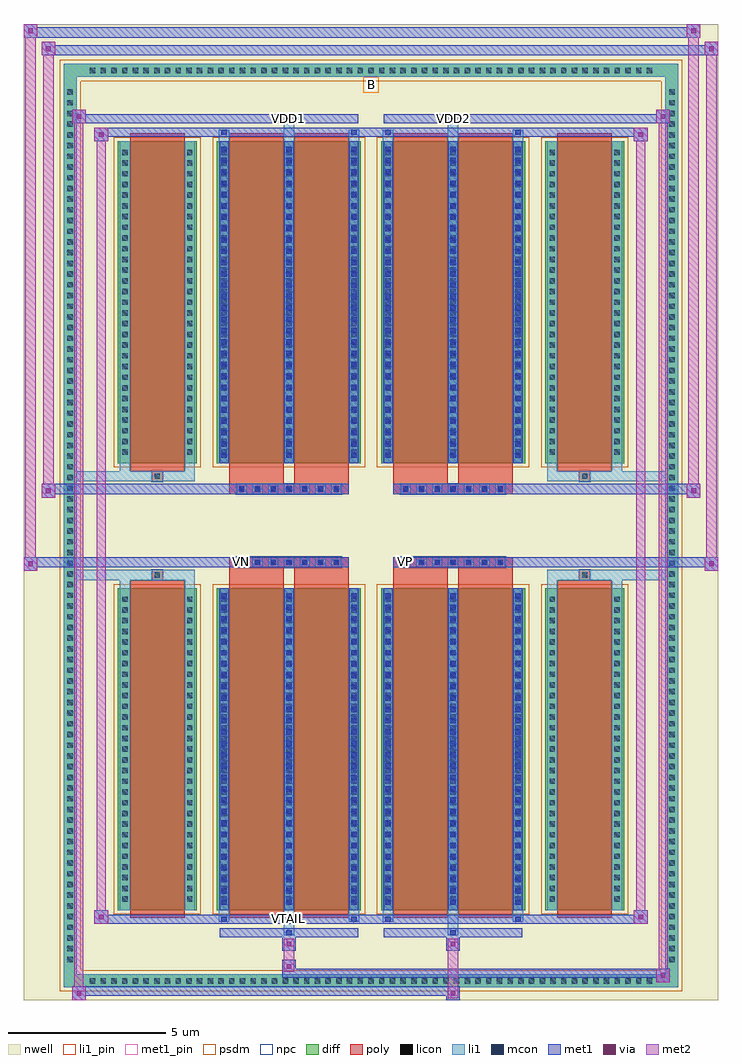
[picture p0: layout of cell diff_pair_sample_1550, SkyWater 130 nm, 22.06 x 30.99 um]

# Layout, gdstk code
import gdstk
lib = gdstk.Library(unit=1e-6, precision=5e-09)
def R(c, l, rs):  # rectangles x0, y0, x1, y1
    for r in rs: c.add(gdstk.rectangle(r[:2], r[2:], *l))
def A(c, l, x, y, w, h, nx, ny, dx, dy):  # array of equal rectangles
    R(c, l, [(x+i*dx, y+j*dy, x+i*dx+w, y+j*dy+h) for i in range(nx) for j in range(ny)])
def P(c, l, *ps):  # polygons
    for p in ps: c.add(gdstk.Polygon(p, *l))
nwell = (64, 20)
diff = (65, 20)
poly = (66, 20)
licon = (66, 44)
li1_pin = (67, 16)
li1 = (67, 20)
mcon = (67, 44)
met1_pin = (68, 16)
met1 = (68, 20)
via = (68, 44)
met2 = (69, 20)
psdm = (94, 20)
npc = (95, 20)

diff_pair_sample_1550 = lib.new_cell('diff_pair_sample_1550')
R(diff_pair_sample_1550, nwell, [(-11.03,-15.06,11.03,15.93), (-8.35,-13.25,-0.01,-0.795), (0.01,-13.25,8.35,-0.795), (-8.35,0.795,-0.01,13.25), (0.01,0.795,8.35,13.25)])
A(diff_pair_sample_1550, diff, -9.045, -14.66, 0.41, 0.41, 53, 2, 0.34, 28.91)
A(diff_pair_sample_1550, diff, -9.76, -13.975, 0.41, 0.41, 1, 82, 0, 0.34)
A(diff_pair_sample_1550, diff, 9.35, -13.975, 0.41, 0.41, 1, 82, 0, 0.34)
R(diff_pair_sample_1550, diff, [(-9.045,-14.66,9.045,-14.25), (-9.76,-13.975,-9.35,13.975), (9.35,-13.975,9.76,13.975), (-8.04,-12.205,-5.53,-1.985), (-4.89,-12.205,-0.32,-1.985), (0.32,-12.205,4.89,-1.985), (5.53,-12.205,8.04,-1.985), (-8.04,1.985,-5.53,12.205), (-4.89,1.985,-0.32,12.205), (0.32,1.985,4.89,12.205), (5.53,1.985,8.04,12.205), (-9.045,14.25,9.045,14.66)])
P(diff_pair_sample_1550, diff, [(9.76,14.66),(-9.76,14.66),(-9.76,-14.25),(-9.35,-14.25),(-9.35,14.25),(9.35,14.25),(9.35,-14.25),(-9.35,-14.25),(-9.76,-14.25),(-9.76,-14.66),(9.76,-14.66)])
A(diff_pair_sample_1550, poly, -4.27, -1.325, 0.33, 0.33, 7, 2, 0.5, 2.32)
A(diff_pair_sample_1550, poly, 0.94, -1.325, 0.33, 0.33, 7, 2, 0.5, 2.32)
R(diff_pair_sample_1550, poly, [(-7.65,-12.455,-5.92,-1.735), (-4.5,-12.455,-2.77,-1.735), (-2.44,-12.455,-0.71,-1.735), (0.71,-12.455,2.44,-1.735), (2.77,-12.455,4.5,-1.735), (5.92,-12.455,7.65,-1.735), (-6.95,-1.735,-6.62,-1.405), (-6.95,-1.735,-6.62,-1.405), (-4.5,-1.735,-2.77,-1.325), (-2.44,-1.735,-0.71,-1.325), (0.71,-1.735,2.44,-1.325), (2.77,-1.735,4.5,-1.325), (6.62,-1.735,6.95,-1.405), (6.62,-1.735,6.95,-1.405), (-4.5,-1.325,-0.71,-0.995), (0.71,-1.325,4.5,-0.995), (-4.5,0.995,-0.71,1.325), (0.71,0.995,4.5,1.325), (-4.5,1.325,-2.77,1.735), (-2.44,1.325,-0.71,1.735), (0.71,1.325,2.44,1.735), (2.77,1.325,4.5,1.735), (-6.95,1.405,-6.62,1.735), (-6.95,1.405,-6.62,1.735), (6.62,1.405,6.95,1.735), (6.62,1.405,6.95,1.735), (-7.65,1.735,-5.92,12.455), (-4.5,1.735,-2.77,12.455), (-2.44,1.735,-0.71,12.455), (0.71,1.735,2.44,12.455), (2.77,1.735,4.5,12.455), (5.92,1.735,7.65,12.455)])
A(diff_pair_sample_1550, licon, -8.925, -14.54, 0.17, 0.17, 53, 2, 0.34, 28.91)
A(diff_pair_sample_1550, licon, -9.64, -13.855, 0.17, 0.17, 1, 82, 0, 0.34)
A(diff_pair_sample_1550, licon, 9.47, -13.855, 0.17, 0.17, 1, 82, 0, 0.34)
A(diff_pair_sample_1550, licon, -7.9, -11.94, 0.17, 0.17, 1, 29, 0, 0.34)
A(diff_pair_sample_1550, licon, -5.84, -11.94, 0.17, 0.17, 1, 29, 0, 0.34)
A(diff_pair_sample_1550, licon, -4.75, -11.94, 0.17, 0.17, 3, 29, 2.06, 0.34)
A(diff_pair_sample_1550, licon, 0.46, -11.94, 0.17, 0.17, 3, 29, 2.06, 0.34)
A(diff_pair_sample_1550, licon, 5.67, -11.94, 0.17, 0.17, 1, 29, 0, 0.34)
A(diff_pair_sample_1550, licon, 7.73, -11.94, 0.17, 0.17, 1, 29, 0, 0.34)
A(diff_pair_sample_1550, licon, -4.19, -1.245, 0.17, 0.17, 7, 2, 0.5, 2.32)
A(diff_pair_sample_1550, licon, 1.02, -1.245, 0.17, 0.17, 7, 2, 0.5, 2.32)
A(diff_pair_sample_1550, licon, -7.9, 2.25, 0.17, 0.17, 1, 29, 0, 0.34)
A(diff_pair_sample_1550, licon, -5.84, 2.25, 0.17, 0.17, 1, 29, 0, 0.34)
A(diff_pair_sample_1550, licon, -4.75, 2.25, 0.17, 0.17, 3, 29, 2.06, 0.34)
A(diff_pair_sample_1550, licon, 0.46, 2.25, 0.17, 0.17, 3, 29, 2.06, 0.34)
A(diff_pair_sample_1550, licon, 5.67, 2.25, 0.17, 0.17, 1, 29, 0, 0.34)
A(diff_pair_sample_1550, licon, 7.73, 2.25, 0.17, 0.17, 1, 29, 0, 0.34)
R(diff_pair_sample_1550, licon, [(-6.87,-1.655,-6.7,-1.485), (6.7,-1.655,6.87,-1.485), (-6.87,1.485,-6.7,1.655), (6.7,1.485,6.87,1.655)])
R(diff_pair_sample_1550, li1_pin, [(-0.25,13.75,0.25,14.25)])
A(diff_pair_sample_1550, li1, -9.005, -14.62, 0.33, 0.33, 53, 2, 0.34, 28.91)
A(diff_pair_sample_1550, li1, -9.72, -13.935, 0.33, 0.33, 1, 82, 0, 0.34)
A(diff_pair_sample_1550, li1, 9.39, -13.935, 0.33, 0.33, 1, 82, 0, 0.34)
A(diff_pair_sample_1550, li1, -4.83, -12.205, 0.33, 10.22, 3, 2, 2.06, 14.19)
A(diff_pair_sample_1550, li1, 0.38, -12.205, 0.33, 10.22, 3, 2, 2.06, 14.19)
A(diff_pair_sample_1550, li1, -4.75, -12.04, 0.17, 0.17, 3, 28, 2.06, 0.36)
A(diff_pair_sample_1550, li1, -4.75, -12.04, 0.17, 9.89, 3, 2, 2.06, 14.19)
A(diff_pair_sample_1550, li1, 0.46, -12.04, 0.17, 0.17, 3, 28, 2.06, 0.36)
A(diff_pair_sample_1550, li1, 0.46, -12.04, 0.17, 9.89, 3, 2, 2.06, 14.19)
A(diff_pair_sample_1550, li1, -7.98, -12.02, 0.33, 0.33, 1, 29, 0, 0.34)
A(diff_pair_sample_1550, li1, -5.92, -12.02, 0.33, 0.33, 1, 29, 0, 0.34)
A(diff_pair_sample_1550, li1, -4.83, -12.02, 0.33, 0.33, 3, 29, 2.06, 0.34)
A(diff_pair_sample_1550, li1, 0.38, -12.02, 0.33, 0.33, 3, 29, 2.06, 0.34)
A(diff_pair_sample_1550, li1, 5.59, -12.02, 0.33, 0.33, 1, 29, 0, 0.34)
A(diff_pair_sample_1550, li1, 7.65, -12.02, 0.33, 0.33, 1, 29, 0, 0.34)
A(diff_pair_sample_1550, li1, -4.27, -1.325, 0.33, 0.33, 7, 2, 0.5, 2.32)
A(diff_pair_sample_1550, li1, 0.94, -1.325, 0.33, 0.33, 7, 2, 0.5, 2.32)
A(diff_pair_sample_1550, li1, -4.75, 2.15, 0.17, 0.17, 3, 28, 2.06, 0.36)
A(diff_pair_sample_1550, li1, 0.46, 2.15, 0.17, 0.17, 3, 28, 2.06, 0.36)
A(diff_pair_sample_1550, li1, -7.98, 2.17, 0.33, 0.33, 1, 29, 0, 0.34)
A(diff_pair_sample_1550, li1, -5.92, 2.17, 0.33, 0.33, 1, 29, 0, 0.34)
A(diff_pair_sample_1550, li1, -4.83, 2.17, 0.33, 0.33, 3, 29, 2.06, 0.34)
A(diff_pair_sample_1550, li1, 0.38, 2.17, 0.33, 0.33, 3, 29, 2.06, 0.34)
A(diff_pair_sample_1550, li1, 5.59, 2.17, 0.33, 0.33, 1, 29, 0, 0.34)
A(diff_pair_sample_1550, li1, 7.65, 2.17, 0.33, 0.33, 1, 29, 0, 0.34)
R(diff_pair_sample_1550, li1, [(-9.76,-14.66,-9.35,-14.25), (-9.76,-14.66,-9.35,-14.25), (-9.35,-14.66,9.35,-14.25), (9.35,-14.66,9.76,-14.25), (9.35,-14.66,9.76,-14.25), (-9.76,-14.25,-9.35,14.25), (9.35,-14.25,9.76,14.25), (-2.77,-13.01,-2.44,-12.205), (-2.69,-13.01,-2.52,-12.84), (2.44,-13.01,2.77,-12.205), (2.52,-13.01,2.69,-12.84), (-4.83,-12.58,-4.5,-12.205), (-4.75,-12.58,-4.58,-12.41), (-0.71,-12.58,-0.38,-12.205), (-0.63,-12.58,-0.46,-12.41), (0.38,-12.58,0.71,-12.205), (0.46,-12.58,0.63,-12.41), (4.5,-12.58,4.83,-12.205), (4.58,-12.58,4.75,-12.41), (-7.98,-12.205,-7.65,-1.985), (-5.92,-12.205,-5.59,-1.985), (5.59,-12.205,5.92,-1.985), (7.65,-12.205,7.98,-1.985), (-7.98,-1.985,-7.65,-1.405), (-5.92,-1.985,-5.59,-1.405), (5.59,-1.985,5.92,-1.405), (7.65,-1.985,7.98,-1.405), (-9.76,-1.735,-6.95,-1.405), (-7.98,-1.735,-6.95,-1.405), (-6.95,-1.735,-6.62,-1.405), (-6.62,-1.735,-5.59,-1.405), (5.59,-1.735,6.62,-1.405), (6.62,-1.735,6.95,-1.405), (6.62,-1.735,9.76,-1.405), (6.95,-1.735,7.98,-1.405), (-9.76,1.405,-6.95,1.735), (-7.98,1.405,-6.95,1.735), (-7.98,1.405,-7.65,1.985), (-6.95,1.405,-6.62,1.735), (-6.62,1.405,-5.59,1.735), (-5.92,1.405,-5.59,1.985), (5.59,1.405,6.62,1.735), (5.59,1.405,5.92,1.985), (6.62,1.405,6.95,1.735), (6.62,1.405,9.76,1.735), (6.95,1.405,7.98,1.735), (7.65,1.405,7.98,1.985), (-7.98,1.985,-7.65,12.205), (-5.92,1.985,-5.59,12.205), (5.59,1.985,5.92,12.205), (7.65,1.985,7.98,12.205), (-4.83,12.205,-4.5,12.58), (-2.77,12.205,-2.44,13.01), (-0.71,12.205,-0.38,12.58), (0.38,12.205,0.71,12.58), (2.44,12.205,2.77,13.01), (4.5,12.205,4.83,12.58), (-4.75,12.41,-4.58,12.58), (-0.63,12.41,-0.46,12.58), (0.46,12.41,0.63,12.58), (4.58,12.41,4.75,12.58), (-2.69,12.84,-2.52,13.01), (2.52,12.84,2.69,13.01), (-9.76,14.25,-9.35,14.66), (-9.76,14.25,-9.35,14.66), (-9.35,14.25,9.35,14.66), (9.35,14.25,9.76,14.66), (9.35,14.25,9.76,14.66)])
A(diff_pair_sample_1550, mcon, -4.75, -12.04, 0.17, 0.17, 3, 28, 2.06, 0.36)
A(diff_pair_sample_1550, mcon, 0.46, -12.04, 0.17, 0.17, 3, 28, 2.06, 0.36)
A(diff_pair_sample_1550, mcon, -4.19, -1.245, 0.17, 0.17, 7, 2, 0.5, 2.32)
A(diff_pair_sample_1550, mcon, 1.02, -1.245, 0.17, 0.17, 7, 2, 0.5, 2.32)
A(diff_pair_sample_1550, mcon, -4.75, 2.15, 0.17, 0.17, 3, 28, 2.06, 0.36)
A(diff_pair_sample_1550, mcon, 0.46, 2.15, 0.17, 0.17, 3, 28, 2.06, 0.36)
R(diff_pair_sample_1550, mcon, [(-2.69,-13.01,-2.52,-12.84), (2.52,-13.01,2.69,-12.84), (-4.75,-12.58,-4.58,-12.41), (-0.63,-12.58,-0.46,-12.41), (0.46,-12.58,0.63,-12.41), (4.58,-12.58,4.75,-12.41), (-4.75,12.41,-4.58,12.58), (-0.63,12.41,-0.46,12.58), (0.46,12.41,0.63,12.58), (4.58,12.41,4.75,12.58), (-2.69,12.84,-2.52,13.01), (2.52,12.84,2.69,13.01)])
R(diff_pair_sample_1550, met1_pin, [(-2.74,-12.62,-2.47,-12.35), (-4.24,-1.285,-3.97,-1.015), (0.97,-1.285,1.24,-1.015), (-2.74,12.8,-2.47,13.07), (2.47,12.8,2.74,13.07)])
A(diff_pair_sample_1550, met1, -4.81, -12.205, 0.29, 10.22, 3, 2, 2.06, 14.19)
A(diff_pair_sample_1550, met1, 0.4, -12.205, 0.29, 10.22, 3, 2, 2.06, 14.19)
A(diff_pair_sample_1550, met1, -4.81, -12.1, 0.29, 0.29, 3, 28, 2.06, 0.36)
A(diff_pair_sample_1550, met1, 0.4, -12.1, 0.29, 0.29, 3, 28, 2.06, 0.36)
A(diff_pair_sample_1550, met1, -4.25, -1.305, 0.29, 0.29, 7, 2, 0.5, 2.32)
A(diff_pair_sample_1550, met1, 0.96, -1.305, 0.29, 0.29, 7, 2, 0.5, 2.32)
A(diff_pair_sample_1550, met1, -4.81, 2.09, 0.29, 0.29, 3, 28, 2.06, 0.36)
A(diff_pair_sample_1550, met1, 0.4, 2.09, 0.29, 0.29, 3, 28, 2.06, 0.36)
R(diff_pair_sample_1550, met1, [(-9.49,-15.06,-9.06,-14.63), (2.39,-15.06,2.82,-14.63), (-9.49,-14.92,2.82,-14.63), (9.06,-14.49,9.49,-14.06), (-2.82,-14.35,9.49,-14.06), (-2.82,-14.21,-2.39,-13.78), (-2.82,-13.5,-2.39,-13.07), (2.39,-13.5,2.82,-13.07), (-4.81,-13.07,-0.4,-12.78), (-2.75,-13.07,-2.46,-12.78), (0.4,-13.07,4.81,-12.78), (2.46,-13.07,2.75,-12.78), (-8.78,-12.64,-8.35,-12.21), (-8.78,-12.64,-4.81,-12.35), (-4.81,-12.64,-4.52,-12.35), (-4.81,-12.64,-0.4,-12.35), (-0.69,-12.64,-0.4,-12.35), (-0.4,-12.64,0.4,-12.35), (0.4,-12.64,0.69,-12.35), (0.4,-12.64,4.81,-12.35), (4.52,-12.64,4.81,-12.35), (4.81,-12.64,8.78,-12.35), (8.35,-12.64,8.78,-12.21), (-11.03,-1.425,-10.6,-0.995), (10.6,-1.425,11.03,-0.995), (-11.03,-1.325,-0.71,-0.995), (-4.5,-1.325,-0.71,-0.995), (0.71,-1.325,4.5,-0.995), (0.71,-1.325,11.03,-0.995), (-10.46,0.895,-10.03,1.325), (10.03,0.895,10.46,1.325), (-10.46,0.995,-4.5,1.325), (-4.5,0.995,-0.71,1.325), (0.71,0.995,4.5,1.325), (4.5,0.995,10.46,1.325), (-8.78,12.21,-8.35,12.64), (8.35,12.21,8.78,12.64), (-8.78,12.35,-4.81,12.64), (-4.81,12.35,-4.52,12.64), (-4.81,12.35,-0.4,12.64), (-0.69,12.35,-0.4,12.64), (-0.4,12.35,0.4,12.64), (0.4,12.35,0.69,12.64), (0.4,12.35,4.81,12.64), (4.52,12.35,4.81,12.64), (4.81,12.35,8.78,12.64), (-9.49,12.78,-9.06,13.21), (-9.49,12.78,-4.81,13.07), (-4.81,12.78,-0.4,13.07), (-2.75,12.78,-2.46,13.07), (0.4,12.78,4.81,13.07), (2.46,12.78,2.75,13.07), (4.81,12.78,9.49,13.07), (9.06,12.78,9.49,13.21), (-10.46,14.93,-10.03,15.36), (-10.46,14.93,-8.35,15.26), (-8.35,14.93,8.35,15.26), (8.35,14.93,11.03,15.26), (10.6,14.93,11.03,15.36), (-11.03,15.5,-10.6,15.93), (-11.03,15.5,-8.35,15.83), (-8.35,15.5,8.35,15.83), (8.35,15.5,10.46,15.83), (10.03,15.5,10.46,15.93)])
R(diff_pair_sample_1550, via, [(-9.35,-14.92,-9.2,-14.77), (2.53,-14.92,2.68,-14.77), (9.2,-14.35,9.35,-14.2), (-2.68,-14.07,-2.53,-13.92), (-2.68,-13.36,-2.53,-13.21), (2.53,-13.36,2.68,-13.21), (-8.64,-12.5,-8.49,-12.35), (8.49,-12.5,8.64,-12.35), (-10.89,-1.285,-10.74,-1.135), (10.74,-1.285,10.89,-1.135), (-10.32,1.035,-10.17,1.185), (10.17,1.035,10.32,1.185), (-8.64,12.35,-8.49,12.5), (8.49,12.35,8.64,12.5), (-9.35,12.92,-9.2,13.07), (9.2,12.92,9.35,13.07), (-10.32,15.07,-10.17,15.22), (10.74,15.07,10.89,15.22), (-10.89,15.64,-10.74,15.79), (10.17,15.64,10.32,15.79)])
R(diff_pair_sample_1550, met2, [(-9.49,-15.06,-9.06,-14.63), (-9.42,-15.06,-9.13,13.21), (-9.13,-15.06,-9.06,-14.63), (-9.44,-15.01,-9.11,-14.68), (2.44,-15.01,2.77,-14.68), (2.44,-14.68,2.77,-13.45), (9.06,-14.49,9.49,-14.06), (9.13,-14.49,9.42,13.21), (9.42,-14.49,9.49,-14.06), (9.11,-14.44,9.44,-14.11), (-2.77,-14.16,-2.44,-13.83), (-2.77,-13.83,-2.44,-13.45), (-2.77,-13.45,-2.44,-13.12), (2.44,-13.45,2.77,-13.12), (-8.78,-12.64,-8.35,-12.21), (-8.71,-12.64,-8.42,12.64), (-8.42,-12.64,-8.35,-12.21), (8.35,-12.64,8.78,-12.21), (8.42,-12.64,8.71,12.64), (8.71,-12.64,8.78,-12.21), (-8.73,-12.59,-8.4,-12.26), (8.4,-12.59,8.73,-12.26), (-11.03,-1.425,-10.6,-0.995), (-10.98,-1.425,-10.65,15.93), (-10.65,-1.425,-10.6,-0.995), (10.6,-1.425,11.03,-0.995), (10.65,-1.425,10.98,15.36), (10.98,-1.425,11.03,-0.995), (-10.98,-1.375,-10.65,-1.045), (10.65,-1.375,10.98,-1.045), (-10.46,0.895,-10.03,1.325), (-10.41,0.895,-10.08,15.36), (-10.08,0.895,-10.03,1.325), (10.03,0.895,10.46,1.325), (10.08,0.895,10.41,15.93), (10.41,0.895,10.46,1.325), (-10.41,0.945,-10.08,1.275), (10.08,0.945,10.41,1.275), (-8.78,12.21,-8.35,12.64), (-8.42,12.21,-8.35,12.64), (8.35,12.21,8.78,12.64), (8.71,12.21,8.78,12.64), (-8.73,12.26,-8.4,12.59), (8.4,12.26,8.73,12.59), (-9.49,12.78,-9.06,13.21), (-9.13,12.78,-9.06,13.21), (9.06,12.78,9.49,13.21), (9.42,12.78,9.49,13.21), (-9.44,12.83,-9.11,13.16), (9.11,12.83,9.44,13.16), (-10.46,14.93,-10.03,15.36), (-10.08,14.93,-10.03,15.36), (10.6,14.93,11.03,15.36), (10.98,14.93,11.03,15.36), (-10.41,14.98,-10.08,15.31), (10.65,14.98,10.98,15.31), (-11.03,15.5,-10.6,15.93), (-10.65,15.5,-10.6,15.93), (10.03,15.5,10.46,15.93), (10.41,15.5,10.46,15.93), (-10.98,15.55,-10.65,15.88), (10.08,15.55,10.41,15.88)])
R(diff_pair_sample_1550, psdm, [(-8.17,-12.335,-5.4,-1.855), (-5.02,-12.335,-0.19,-1.855), (0.19,-12.335,5.02,-1.855), (5.4,-12.335,8.17,-1.855), (-8.17,1.855,-5.4,12.335), (-5.02,1.855,-0.19,12.335), (0.19,1.855,5.02,12.335), (5.4,1.855,8.17,12.335)])
P(diff_pair_sample_1550, psdm, [(9.89,14.79),(-9.89,14.79),(-9.89,-14.12),(-9.22,-14.12),(-9.22,14.12),(9.22,14.12),(9.22,-14.12),(-9.22,-14.12),(-9.89,-14.12),(-9.89,-14.79),(9.89,-14.79)])
A(diff_pair_sample_1550, npc, -4.29, -1.345, 0.37, 0.37, 7, 2, 0.5, 2.32)
A(diff_pair_sample_1550, npc, 0.92, -1.345, 0.37, 0.37, 7, 2, 0.5, 2.32)
R(diff_pair_sample_1550, npc, [(-6.97,-1.755,-6.6,-1.385), (6.6,-1.755,6.97,-1.385), (-4.29,-1.345,-3.42,-0.975), (-4.29,-1.345,-3.42,-0.975), (-3.79,-1.345,-2.92,-0.975), (-3.79,-1.345,-2.92,-0.975), (-3.29,-1.345,-2.42,-0.975), (-3.29,-1.345,-2.42,-0.975), (-2.79,-1.345,-1.92,-0.975), (-2.79,-1.345,-1.92,-0.975), (-2.29,-1.345,-1.42,-0.975), (-2.29,-1.345,-1.42,-0.975), (-1.79,-1.345,-0.92,-0.975), (-1.79,-1.345,-0.92,-0.975), (0.92,-1.345,1.79,-0.975), (0.92,-1.345,1.79,-0.975), (1.42,-1.345,2.29,-0.975), (1.42,-1.345,2.29,-0.975), (1.92,-1.345,2.79,-0.975), (1.92,-1.345,2.79,-0.975), (2.42,-1.345,3.29,-0.975), (2.42,-1.345,3.29,-0.975), (2.92,-1.345,3.79,-0.975), (2.92,-1.345,3.79,-0.975), (3.42,-1.345,4.29,-0.975), (3.42,-1.345,4.29,-0.975), (-4.29,0.975,-3.42,1.345), (-4.29,0.975,-3.42,1.345), (-3.79,0.975,-2.92,1.345), (-3.79,0.975,-2.92,1.345), (-3.29,0.975,-2.42,1.345), (-3.29,0.975,-2.42,1.345), (-2.79,0.975,-1.92,1.345), (-2.79,0.975,-1.92,1.345), (-2.29,0.975,-1.42,1.345), (-2.29,0.975,-1.42,1.345), (-1.79,0.975,-0.92,1.345), (-1.79,0.975,-0.92,1.345), (0.92,0.975,1.79,1.345), (0.92,0.975,1.79,1.345), (1.42,0.975,2.29,1.345), (1.42,0.975,2.29,1.345), (1.92,0.975,2.79,1.345), (1.92,0.975,2.79,1.345), (2.42,0.975,3.29,1.345), (2.42,0.975,3.29,1.345), (2.92,0.975,3.79,1.345), (2.92,0.975,3.79,1.345), (3.42,0.975,4.29,1.345), (3.42,0.975,4.29,1.345), (-6.97,1.385,-6.6,1.755), (6.6,1.385,6.97,1.755)])
diff_pair_sample_1550.add(gdstk.Label('VTAIL', (-2.605,-12.485), layer=68, texttype=5))
diff_pair_sample_1550.add(gdstk.Label('VN', (-4.105,-1.15), layer=68, texttype=5))
diff_pair_sample_1550.add(gdstk.Label('VP', (1.105,-1.15), layer=68, texttype=5))
diff_pair_sample_1550.add(gdstk.Label('B', (0,14), layer=67, texttype=5))
diff_pair_sample_1550.add(gdstk.Label('VDD2', (2.605,12.935), layer=68, texttype=5))
diff_pair_sample_1550.add(gdstk.Label('VDD1', (-2.605,12.935), layer=68, texttype=5))

lib.write_gds('diff_pair_sample_1550.gds')
